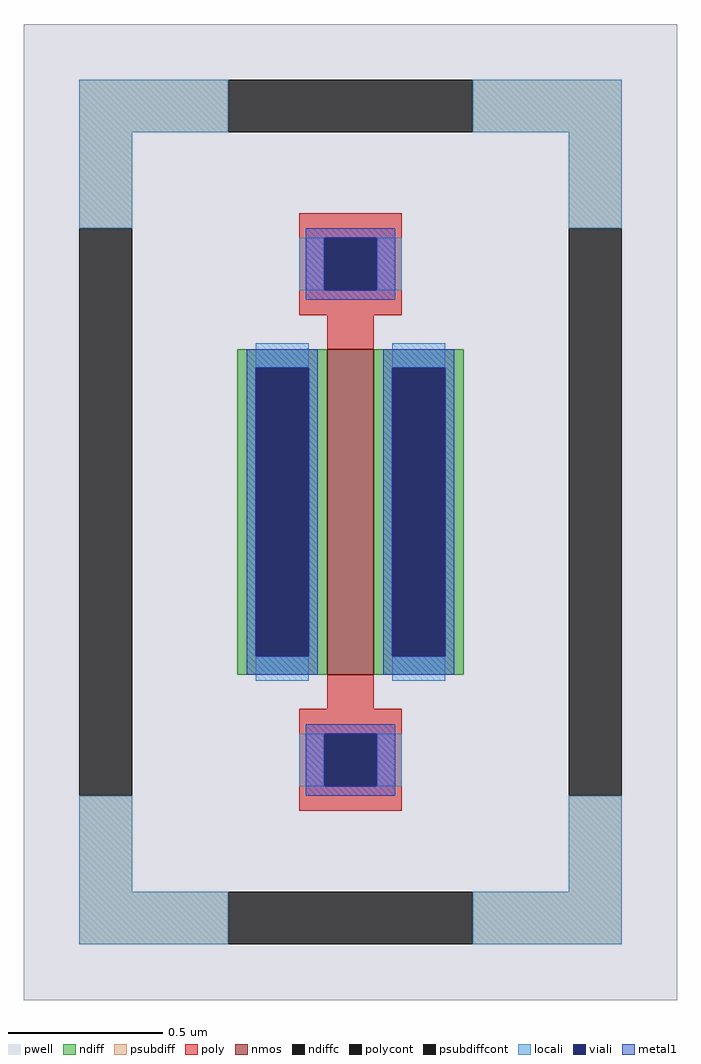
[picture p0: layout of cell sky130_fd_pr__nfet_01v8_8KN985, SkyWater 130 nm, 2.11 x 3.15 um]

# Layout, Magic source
magic
tech sky130B
magscale 1 2
<< pwell >>
rect -211 -315 211 315
<< nmos >>
rect -15 -105 15 105
<< ndiff >>
rect -73 93 -15 105
rect -73 -93 -61 93
rect -27 -93 -15 93
rect -73 -105 -15 -93
rect 15 93 73 105
rect 15 -93 27 93
rect 61 -93 73 93
rect 15 -105 73 -93
<< ndiffc >>
rect -61 -93 -27 93
rect 27 -93 61 93
<< psubdiff >>
rect -175 245 -79 279
rect 79 245 175 279
rect -175 183 -141 245
rect 141 183 175 245
rect -175 -245 -141 -183
rect 141 -245 175 -183
rect -175 -279 -79 -245
rect 79 -279 175 -245
<< psubdiffcont >>
rect -79 245 79 279
rect -175 -183 -141 183
rect 141 -183 175 183
rect -79 -279 79 -245
<< poly >>
rect -33 177 33 193
rect -33 143 -17 177
rect 17 143 33 177
rect -33 127 33 143
rect -15 105 15 127
rect -15 -127 15 -105
rect -33 -143 33 -127
rect -33 -177 -17 -143
rect 17 -177 33 -143
rect -33 -193 33 -177
<< polycont >>
rect -17 143 17 177
rect -17 -177 17 -143
<< locali >>
rect -175 245 -79 279
rect 79 245 175 279
rect -175 183 -141 245
rect 141 183 175 245
rect -33 143 -17 177
rect 17 143 33 177
rect -61 93 -27 109
rect -61 -109 -27 -93
rect 27 93 61 109
rect 27 -109 61 -93
rect -33 -177 -17 -143
rect 17 -177 33 -143
rect -175 -245 -141 -183
rect 141 -245 175 -183
rect -175 -279 -79 -245
rect 79 -279 175 -245
<< viali >>
rect -17 143 17 177
rect -61 -93 -27 93
rect 27 -93 61 93
rect -17 -177 17 -143
<< metal1 >>
rect -29 177 29 183
rect -29 143 -17 177
rect 17 143 29 177
rect -29 137 29 143
rect -67 93 -21 105
rect -67 -93 -61 93
rect -27 -93 -21 93
rect -67 -105 -21 -93
rect 21 93 67 105
rect 21 -93 27 93
rect 61 -93 67 93
rect 21 -105 67 -93
rect -29 -143 29 -137
rect -29 -177 -17 -143
rect 17 -177 29 -143
rect -29 -183 29 -177
<< properties >>
string FIXED_BBOX -158 -262 158 262
string gencell sky130_fd_pr__nfet_01v8
string library sky130
string parameters w 1.05 l 0.15 m 1 nf 1 diffcov 100 polycov 100 guard 1 glc 1 grc 1 gtc 1 gbc 1 tbcov 100 rlcov 100 topc 1 botc 1 poverlap 0 doverlap 1 lmin 0.15 wmin 0.42 class mosfet compatible {sky130_fd_pr__nfet_01v8 sky130_fd_pr__nfet_01v8_lvt  sky130_fd_bs_flash__special_sonosfet_star  sky130_fd_pr__nfet_g5v0d10v5 sky130_fd_pr__nfet_05v0_nvt  sky130_fd_pr__nfet_03v3_nvt} full_metal 1 viasrc 100 viadrn 100 viagate 100 viagb 0 viagr 0 viagl 0 viagt 0 ad {int((nf+1)/2) * W/nf * 0.29} as {int((nf+2)/2) * W/nf * 0.29} pd {2*int((nf+1)/2) * (W/nf + 0.29)} ps {2*int((nf+2)/2) * (W/nf + 0.29)} nrd {0.29 / W} nrs {0.29 / W} sa 0 sb 0 sd 0 mult 1
<< end >>
